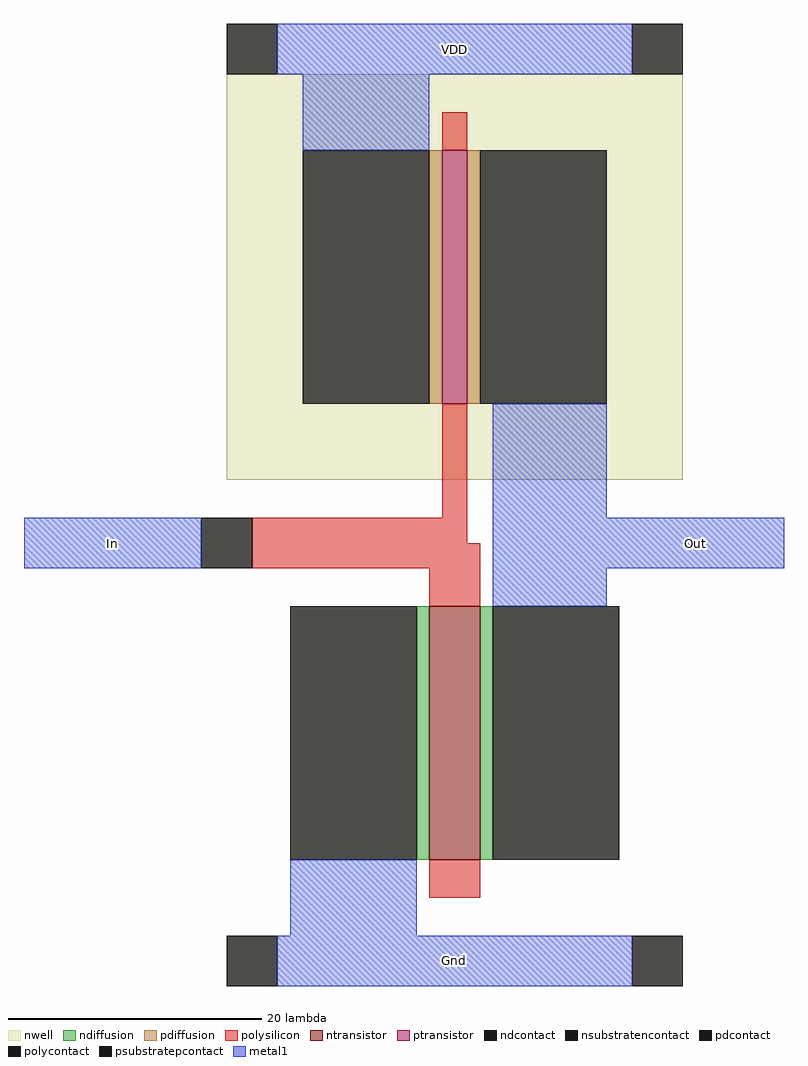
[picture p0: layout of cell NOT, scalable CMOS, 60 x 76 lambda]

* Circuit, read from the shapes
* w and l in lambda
.subckt NOT Gnd In Out VDD
M1 Out In Gnd Gnd nfet w=20 l=4
M2 Out In VDD n1 pfet w=20 l=2
.ends

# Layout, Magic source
magic
tech scmos
<< nwell >>
rect 0 2 36 34
<< ntransistor >>
rect 16 -28 20 -8
<< ptransistor >>
rect 17 8 19 28
<< ndiffusion >>
rect 15 -28 16 -8
rect 20 -28 21 -8
<< pdiffusion >>
rect 16 8 17 28
rect 19 8 20 28
<< ndcontact >>
rect 5 -28 15 -8
rect 21 -28 31 -8
<< pdcontact >>
rect 6 8 16 28
rect 20 8 30 28
<< psubstratepcontact >>
rect 0 -38 4 -34
rect 32 -38 36 -34
<< nsubstratencontact >>
rect 0 34 4 38
rect 32 34 36 38
<< polysilicon >>
rect 17 28 19 31
rect 17 -1 19 8
rect 2 -3 19 -1
rect 2 -5 20 -3
rect 16 -8 20 -5
rect 16 -31 20 -28
<< polycontact >>
rect -2 -5 2 -1
<< metal1 >>
rect 4 34 32 38
rect 6 28 16 34
rect 21 -1 30 8
rect -16 -5 -2 -1
rect 21 -5 44 -1
rect 21 -8 30 -5
rect 5 -34 15 -28
rect 4 -38 32 -34
<< labels >>
rlabel metal1 -16 -5 -2 -1 1 In
rlabel metal1 30 -5 44 -1 1 Out
rlabel metal1 0 34 36 38 5 VDD
rlabel metal1 0 -38 36 -34 1 Gnd
<< end >>
